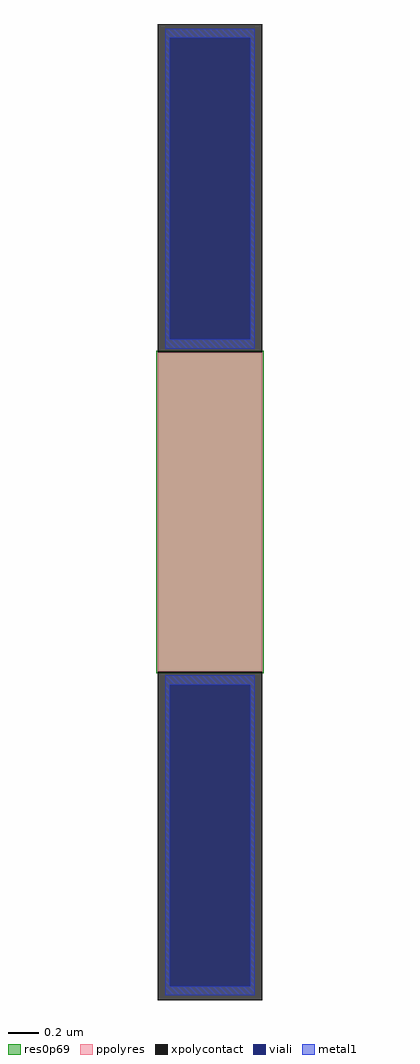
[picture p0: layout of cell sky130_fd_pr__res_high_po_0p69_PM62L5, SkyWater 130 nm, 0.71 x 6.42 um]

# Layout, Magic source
magic
tech sky130A
magscale 1 2
<< xpolycontact >>
rect -69 210 69 642
rect -69 -642 69 -210
<< ppolyres >>
rect -69 -210 69 210
<< viali >>
rect -53 227 53 624
rect -53 -624 53 -227
<< metal1 >>
rect -59 624 59 636
rect -59 227 -53 624
rect 53 227 59 624
rect -59 215 59 227
rect -59 -227 59 -215
rect -59 -624 -53 -227
rect 53 -624 59 -227
rect -59 -636 59 -624
<< res0p69 >>
rect -71 -212 71 212
<< properties >>
string gencell sky130_fd_pr__res_high_po_0p69
string parameters w 0.690 l 2.1 m 1 nx 1 wmin 0.690 lmin 0.50 rho 319.8 val 1.028k dummy 0 dw 0.0 term 19.188 sterm 0.0 caplen 0 guard 0 glc 0 grc 0 gtc 0 gbc 0 compatible {sky130_fd_pr__res_high_po_0p35  sky130_fd_pr__res_high_po_0p69 sky130_fd_pr__res_high_po_1p41  sky130_fd_pr__res_high_po_2p85 sky130_fd_pr__res_high_po_5p73} full_metal 0 wmax 0.690 n_guard 0 hv_guard 0 vias 1 viagb 0 viagt 0 viagl 0 viagr 0
string library sky130
<< end >>
